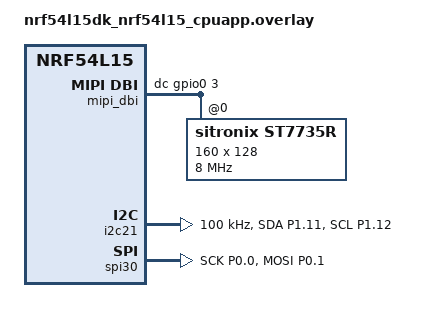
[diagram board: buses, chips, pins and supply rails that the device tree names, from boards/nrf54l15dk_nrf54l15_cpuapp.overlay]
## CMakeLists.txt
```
cmake_minimum_required(VERSION 3.20.0)
find_package(Zephyr REQUIRED HINTS $ENV{ZEPHYR_BASE})

project(camera-show-screen)

target_sources(app PRIVATE
    src/main.c
    ../lib/c/ov7670.c
    ../lib/c/fifo.c
    ../lib/c/tft_display.c
)
```

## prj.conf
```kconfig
# OV7670 FIFO Camera + TFT Display
CONFIG_GPIO=y
CONFIG_I2C=y
CONFIG_SPI=y

# Serial console (required for any UART output on nRF54L15)
CONFIG_SERIAL=y
CONFIG_CONSOLE=y
CONFIG_UART_CONSOLE=y
CONFIG_PRINTK=y

# Logging
CONFIG_LOG=y
CONFIG_LOG_MODE_IMMEDIATE=y
CONFIG_LOG_BACKEND_UART=y

CONFIG_MAIN_STACK_SIZE=4096

# Display
CONFIG_DISPLAY=y
CONFIG_ST7735R=y
CONFIG_MIPI_DBI=y
```

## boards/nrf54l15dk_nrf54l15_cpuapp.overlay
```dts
/*
 * Device tree overlay for OV7670 + FIFO camera on nRF54L15 DK
 *
 * I2C (SCCB): SIOD = P1.11, SIOC = P1.12  (i2c21 / TWIM21 — Arduino I2C header)
 * Data bus D0-D7 = P2.00-P2.07  (read as low byte of port 2)
 * VSYNC = P2.08,  WRST = P2.10,  RCK = P2.09
 * XCLK: provided by 12 MHz oscillator on the camera PCB
 *
 * P1.04-P1.07 — UART20 console          DO NOT USE
 * P2.07 — LED2 (D7: FIFO drives OK, LED flickers with data)
 * P2.09 — LED0 (RCK: LED blinks during frame readout — capture indicator)
 *
 * NOTE: P1.11 and P1.12 are the Arduino-compatible I2C header pins on PCA10156.
 * P1.00/P1.01 are NOT wired to any header on this board.
 */
&pinctrl {
	i2c21_default: i2c21_default {
		group1 {
			psels = <NRF_PSEL(TWIM_SDA, 1, 11)>,
				<NRF_PSEL(TWIM_SCL, 1, 12)>;
			/* External 4.7 kΩ pull-ups present — no internal bias needed */
		};
	};

	i2c21_sleep: i2c21_sleep {
		group1 {
			psels = <NRF_PSEL(TWIM_SDA, 1, 11)>,
				<NRF_PSEL(TWIM_SCL, 1, 12)>;
			low-power-enable;
		};
	};
	
	spi30_default: spi30_default {
		group1 {
			psels = <NRF_PSEL(SPIM_SCK, 0, 0)>,   /* P0.00 */
				<NRF_PSEL(SPIM_MOSI, 0, 1)>;   /* P0.01 */
		};
	};

	spi30_sleep: spi30_sleep {
		group1 {
			psels = <NRF_PSEL(SPIM_SCK, 0, 0)>,
				<NRF_PSEL(SPIM_MOSI, 0, 1)>;
			low-power-enable;
		};
	};
};

&i2c21 {
	compatible = "nordic,nrf-twim";
	status = "okay";
	pinctrl-0 = <&i2c21_default>;
	pinctrl-1 = <&i2c21_sleep>;
	pinctrl-names = "default", "sleep";
	clock-frequency = <100000>;
};

&spi30 {
	compatible = "nordic,nrf-spim";
	status = "okay";
	pinctrl-0 = <&spi30_default>;
	pinctrl-1 = <&spi30_sleep>;
	pinctrl-names = "default", "sleep";
	cs-gpios = <&gpio0 2 GPIO_ACTIVE_LOW>;  /* P0.02 */
};

/ {
	mipi_dbi {
		compatible = "zephyr,mipi-dbi-spi";
		spi-dev = <&spi30>;
		dc-gpios = <&gpio0 3 GPIO_ACTIVE_HIGH>;   /* P0.03 */
		/* RESET tied to 3.3V via 10 kΩ — no MCU pin needed */
		write-only;
		#address-cells = <1>;
		#size-cells = <0>;

		st7735r: st7735r@0 {
			compatible = "sitronix,st7735r";
			reg = <0>;
			mipi-max-frequency = <8000000>;
			mipi-mode = "MIPI_DBI_MODE_SPI_4WIRE";
			width = <160>;
			height = <128>;
			x-offset = <0>;
			y-offset = <0>;
			madctl = <0x60>; /* MV+MX: 90° CW landscape */
			colmod = <0x05>;
			vmctr1 = <0x0e>;
			pwctr1 = [A2 02 84];
			pwctr2 = [C5];
			pwctr3 = [0A 00];
			pwctr4 = [8A 2A];
			pwctr5 = [8A EE];
			frmctr1 = [01 2C 2D];
			frmctr2 = [01 2C 2D];
			frmctr3 = [01 2C 2D 01 2C 2D];
			gamctrp1 = [02 1C 07 12 37 32 29 2D 29 25 2B 39 00 01 03 10];
			gamctrn1 = [03 1D 07 06 2E 2C 29 2D 2E 2E 37 3F 00 00 02 10];
		};
	};
};

/*
 * Disable the on-board SPI flash (MX25R64) and SPI00 peripheral.
 * They claim P2.00 (reset), P2.01 (SCK), P2.02 (MOSI), P2.04 (MISO),
 * P2.05 (CS) — which collide with our FIFO data bus D0-D7 on P2.00-P2.07.
 *
 * NOTE: Even with SPI00 disabled, the flash chip is physically soldered
 * to these traces. If bus contention causes problems, the data bus
 * may need to be moved to different pins.
 */
&spi00 {
	status = "disabled";
};

/* uart30 and spi30 share the same address block (0x104000).
 * Disable uart30 so spi30 (domain-30, gpiote30) can use P0.00–P0.03. */
&uart30 {
	status = "disabled";
};

/* spi22 is unused — free its pins for the camera project */
&spi22 {
	status = "disabled";
};
```

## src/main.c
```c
/*
 * OV7670 + FIFO Camera Demo — nRF54L15 DK (Zephyr)
 *
 * Captures QQVGA (160×120) RGB565 frames once per second.
 * Set DUMP_FRAME_UART to 1 to hex-dump each frame over UART.
 * See README.md for hardware wiring and Board Configurator requirements.
 * See src/fifo.c for the full pin mapping.
 */

#include <zephyr/kernel.h>
#include <zephyr/logging/log.h>

#include "../../lib/c/ov7670.h"
#include "../../lib/c/fifo.h"
#include "../../lib/c/tft_display.h"

#define FRAME_RATE 5
#define FRAME_INTERVAL_MS (1000 / FRAME_RATE)

LOG_MODULE_REGISTER(app, LOG_LEVEL_INF);

static uint8_t frame_buf[IMG_SIZE] __aligned(4);

int main(void)
{
	LOG_INF("\n*** Camera capture and show on screen ***\n");

	const struct device *display = TFT_DEVICE();

	if (tft_init(display) != 0) {
		LOG_ERR("Display not ready\n");
		return -1;
	}

	if (ov7670_init() != 0) {
		LOG_ERR("Camera init failed\n");
		return -EIO;
	}

	if (fifo_init() != 0) {
		LOG_ERR("FIFO init failed\n");
		return -EIO;
	}

	k_msleep(300);   /* auto-exposure settle */
	
	tft_fill_screen(display, TFT_COLOR_BLACK);

	uint64_t time = k_uptime_get();
	uint64_t previous = time;
	while (1) {
		LOG_INF("Time spent: %llu ms", time - previous);

		fifo_capture(frame_buf, IMG_SIZE, LINE_STRIDE);
		
		tft_draw_image(display, 0, 0, 160, 120, frame_buf);
		
		// tft_draw_bounding_box(display, 0, 0, 160, 120, "Test");
		previous = time;
		time = k_uptime_get();
	}

	return 0;
}
```

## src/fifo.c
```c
/*
 * AL422B FIFO interface driver.
 *
 * Pin mapping (nRF54L15 DK — P2.00–P2.05 freed via Nordic Board Configurator,
 * spi00 disabled in boards/nrf54l15dk_nrf54l15_cpuapp.overlay):
 *
 *   D0–D7   P2.00–P2.07  (8-bit data bus, read as: gpio2 & 0xFF)
 *   WEN     P0.04        /WE  active-low  (shared with Button3 — OK for demo)
 *   RRST    P1.14        active-low read-pointer reset  (shared with LED3)
 *   VSYNC   P2.08        frame sync input from OV7670
 *   RCK     P2.09        read clock output  (also LED0 — blinks during readout)
 *   WRST    P2.10        /WRST active-low write-pointer reset
 *
 * Fixed (no MCU pin):
 *   XCLK  → 12 MHz oscillator on camera PCB
 *   OE    → GND   (FIFO outputs always enabled)
 *   RST   → 3.3 V via 10 kΩ
 *   PWDN  → GND
 *
 * SCCB (not handled here):
 *   SIOD  → P1.11  (managed by i2c21 / Arduino I2C SDA header)
 *   SIOC  → P1.12  (managed by i2c21 / Arduino I2C SCL header)
 *   Note: keep SIOD/SIOC wires short — long or chained wires add capacitance
 *         that corrupts SCCB writes and produces stuck/tinted images.
 */

#include "fifo.h"

#include <zephyr/device.h>
#include <zephyr/devicetree.h>
#include <zephyr/drivers/gpio.h>
#include <zephyr/kernel.h>
#include <zephyr/logging/log.h>
#include <zephyr/sys/util.h>

LOG_MODULE_REGISTER(fifo, LOG_LEVEL_INF);

/* ---- GPIO port handles --------------------------------------------------- */

static const struct device *const gpio0 = DEVICE_DT_GET(DT_NODELABEL(gpio0));
static const struct device *const gpio1 = DEVICE_DT_GET(DT_NODELABEL(gpio1));
static const struct device *const gpio2 = DEVICE_DT_GET(DT_NODELABEL(gpio2));

/* ---- Pin assignments ----------------------------------------------------- */

#define PIN_WEN    4   /* P0.04 — /WE  active-low */
#define PIN_RRST  14   /* P1.14 — RRST active-low */
#define PIN_VSYNC  8   /* P2.08 — frame sync input */
#define PIN_RCK    9   /* P2.09 — read clock (also LED0) */
#define PIN_WRST  10   /* P2.10 — /WRST active-low */

/* ---- Low-level helpers --------------------------------------------------- */

/* Read the 8-bit data bus: D0–D7 all on P2.00–P2.07. */
static inline uint8_t read_byte(void)
{
	gpio_port_value_t v;

	gpio_port_get_raw(gpio2, &v);
	return (uint8_t)(v & 0xFF);
}

static void write_reset(void)
{
	gpio_pin_set_raw(gpio2, PIN_WRST, 0);
	k_busy_wait(1);
	gpio_pin_set_raw(gpio2, PIN_WRST, 1);
	k_busy_wait(1);
}

static void read_reset(void)
{
	/* Sequence from bitluni reference: assert RRST, clock one rising RCK
	 * edge so the AL422B latches the reset, then deassert RRST.  Leave
	 * RCK high so the first read_byte() sees valid data at address 0. */
	gpio_pin_set_raw(gpio1, PIN_RRST, 0);
	k_busy_wait(1);
	gpio_pin_set_raw(gpio2, PIN_RCK, 0);
	k_busy_wait(1);
	gpio_pin_set_raw(gpio2, PIN_RCK, 1);
	k_busy_wait(1);
	gpio_pin_set_raw(gpio1, PIN_RRST, 1);
}

/* ---- Public API ---------------------------------------------------------- */

int fifo_init(void)
{
	int ret;

	if (!device_is_ready(gpio0) ||
	    !device_is_ready(gpio1) ||
	    !device_is_ready(gpio2)) {
		LOG_ERR("GPIO port(s) not ready");
		return -ENODEV;
	}

	/* Data bus D0–D7: P2.00–P2.07 as inputs */
	for (int i = 0; i < 8; i++) {
		ret = gpio_pin_configure(gpio2, i, GPIO_INPUT);
		if (ret) {
			LOG_ERR("data pin P2.%02d cfg failed: %d", i, ret);
			return ret;
		}
	}

	/* WEN (P0.04): output, start high (write disabled) */
	ret = gpio_pin_configure(gpio0, PIN_WEN, GPIO_OUTPUT);
	if (ret) {
		LOG_ERR("P0.%02d (WEN) cfg failed: %d", PIN_WEN, ret);
		return ret;
	}
	gpio_pin_set_raw(gpio0, PIN_WEN, 1);

	/* RRST (P1.14): output, start high (deasserted) */
	ret = gpio_pin_configure(gpio1, PIN_RRST, GPIO_OUTPUT);
	if (ret) {
		LOG_ERR("P1.%02d (RRST) cfg failed: %d", PIN_RRST, ret);
		return ret;
	}
	gpio_pin_set_raw(gpio1, PIN_RRST, 1);

	/* Port 2 control pins */
	static const struct { uint8_t pin; int dir; uint8_t init; } p2ctrl[] = {
		{PIN_VSYNC, GPIO_INPUT,  0},
		{PIN_WRST,  GPIO_OUTPUT, 1},
		{PIN_RCK,   GPIO_OUTPUT, 1},
	};
	for (int i = 0; i < ARRAY_SIZE(p2ctrl); i++) {
		ret = gpio_pin_configure(gpio2, p2ctrl[i].pin, p2ctrl[i].dir);
		if (ret) {
			LOG_ERR("P2.%02d cfg failed: %d", p2ctrl[i].pin, ret);
			return ret;
		}
		if (p2ctrl[i].dir == GPIO_OUTPUT) {
			gpio_pin_set_raw(gpio2, p2ctrl[i].pin, p2ctrl[i].init);
		}
	}

	return 0;
}

int fifo_capture(uint8_t *buf, size_t size, size_t line_stride)
{
	/* 1.  Wait for VSYNC = 1  (vertical blanking / end of old frame) */
	while (gpio_pin_get_raw(gpio2, PIN_VSYNC) == 0) {
	}
	/* 2.  Wait for VSYNC = 0  (start of new frame) */
	while (gpio_pin_get_raw(gpio2, PIN_VSYNC) != 0) {
	}

	/* 3.  Reset write pointer and enable writing (AL422B /WE active-low) */
	write_reset();
	gpio_pin_set_raw(gpio0, PIN_WEN, 0);

	/* 4.  Wait for the full frame to be written (VSYNC = 1 again) */
	while (gpio_pin_get_raw(gpio2, PIN_VSYNC) == 0) {
	}

	/* 5.  Stop writing */
	gpio_pin_set_raw(gpio0, PIN_WEN, 1);

	/* 6.  Reset read pointer */
	read_reset();

	/* 6b. It seems that the first byte will be corrupted unless we set RCK low */
	gpio_pin_set_raw(gpio2, PIN_RCK, 0);

	/* 7.  Clock out every byte.
	 *     AL422B: data valid while RCK is HIGH; pointer advances on
	 *     falling edge.  RCK is also LED0 — it blinks during readout. */
	const int trouble_byte = line_stride - 2;
	for (size_t i = 0; i < size; i++) {
		gpio_pin_set_raw(gpio2, PIN_RCK, 1);
		buf[i] = read_byte();
		if (buf[i] != 0 && (i % line_stride) == trouble_byte) {
			//The second last byte in each LINE_STRIDE should always be 0x00.
			//Inserting zero as the second last byte, and inserting the read byte at the end:
			//Do not need to check for array bounds - we are at the second to last byte in a line.
			buf[i + 1] = buf[i];
			buf[i] = 0;
			++i;
		}
		gpio_pin_set_raw(gpio2, PIN_RCK, 0);
	}

	return 0;
}
```

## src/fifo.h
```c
#ifndef FIFO_H_
#define FIFO_H_

#include <stddef.h>
#include <stdint.h>

/* Image dimensions — QQVGA RGB565 */
#define IMG_W    160
#define IMG_H    120
#define IMG_BPP  2
#define IMG_SIZE (IMG_W * IMG_H * IMG_BPP)  /* 38 400 bytes */
#define LINE_STRIDE (IMG_W * IMG_BPP)

/**
 * @brief Configure GPIO pins for the AL422B FIFO interface.
 *
 * Sets up D0–D7 (P2.00–P2.07 as inputs), WEN (P0.04), RRST (P1.14),
 * VSYNC (P2.08), RCK (P2.09), and WRST (P2.10).  Call once at startup
 * before fifo_capture().
 *
 * @return 0 on success, negative errno on failure.
 */
int fifo_init(void);

/**
 * @brief Capture one full frame from the AL422B FIFO into @p buf.
 *
 * Waits for VSYNC frame boundaries, arms the write cycle, then clocks
 * out @p size bytes.
 *
 * @param buf   Destination buffer.  Must be at least @p size bytes.
 * @param size  Bytes to read — normally IMG_SIZE.
 * @return 0 on success.
 */
int fifo_capture(uint8_t *buf, size_t size, size_t line_stride);

#endif /* FIFO_H_ */
```

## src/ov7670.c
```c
/*
 * OV7670 CMOS image sensor driver (SCCB / I2C).
 *
 * Configures the sensor for QQVGA (160×120) RGB565 output.
 *
 * SCCB is I2C-compatible but requires a STOP condition between the
 * register-address write and the data read — i2c_write_read() must NOT
 * be used; two separate transactions are used instead.
 */

#include "ov7670.h"

#include <zephyr/device.h>
#include <zephyr/devicetree.h>
#include <zephyr/drivers/i2c.h>
#include <zephyr/kernel.h>
#include <zephyr/logging/log.h>
#include <zephyr/sys/util.h>

LOG_MODULE_REGISTER(ov7670, LOG_LEVEL_INF);

/* ---- SCCB address (7-bit) ----------------------------------------------- */

#define OV7670_ADDR  0x21

/* ---- Register map -------------------------------------------------------- */

#define REG_PID               0x0A
#define REG_VER               0x0B
#define REG_COM1              0x04
#define REG_COM3              0x0C
#define REG_COM7              0x12
#define REG_COM9              0x14
#define REG_COM13             0x3D
#define REG_COM14             0x3E
#define REG_COM15             0x40
#define REG_CLKRC             0x11
#define REG_TSLB              0x3A
#define REG_HSTART            0x17
#define REG_HSTOP             0x18
#define REG_HREF              0x32
#define REG_VSTART            0x19
#define REG_VSTOP             0x1A
#define REG_VREF              0x03
#define REG_RGB444            0x8C
#define REG_SCALING_XSC       0x70
#define REG_SCALING_YSC       0x71
#define REG_SCALING_DCWCTR    0x72
#define REG_SCALING_PCLK_DIV  0x73
#define REG_SCALING_PCLK_DLY  0xA2
#define REG_MTX1              0x4F
#define REG_MTX2              0x50
#define REG_MTX3              0x51
#define REG_MTX4              0x52
#define REG_MTX5              0x53
#define REG_MTX6              0x54
#define REG_MTXS              0x58

/* ---- QQVGA RGB565 initialisation table ----------------------------------- */

static const struct { uint8_t reg; uint8_t val; } init_tbl[] = {
	/* software reset — 100 ms pause inserted by the write loop */
	{REG_COM7,             0x80},
	/* RGB output mode */
	{REG_COM7,             0x04},
	/* use external 12 MHz clock directly, no prescaler */
	{REG_CLKRC,            0x80},
	/* enable downsampling / scaling */
	{REG_COM3,             0x04},
	/* manual scaling + PCLK divider ÷4 */
	{REG_COM14,            0x1A},
	/* downsample by 4 (H and V) */
	{REG_SCALING_DCWCTR,   0x22},
	/* DSP clock divider ÷4 */
	{REG_SCALING_PCLK_DIV, 0xF2},
	{REG_SCALING_XSC,      0x3A},
	{REG_SCALING_YSC,      0x35},
	{REG_SCALING_PCLK_DLY, 0x02},
	/* RGB565, full output range */
	{REG_COM15,            0xD0},
	/* disable RGB444 */
	{REG_RGB444,           0x00},
	{REG_COM1,             0x00},
	{REG_TSLB,             0x04},
	/* QQVGA window */
	{REG_HSTART,           0x16},
	{REG_HSTOP,            0x04},
	{REG_HREF,             0x24},
	{REG_VSTART,           0x02},
	{REG_VSTOP,            0x7A},
	{REG_VREF,             0x0A},
	/* AGC gain ceiling */
	{REG_COM9,             0x48},
	/* colour matrix */
	{REG_MTX1,             0x80},
	{REG_MTX2,             0x80},
	{REG_MTX3,             0x00},
	{REG_MTX4,             0x22},
	{REG_MTX5,             0x5E},
	{REG_MTX6,             0x80},
	{REG_MTXS,             0x9E},
	/* gamma + UV auto adjust */
	{REG_COM13,            0xC0},
	/* registers from bitluni reference — critical for correct colours */
	{0xB0,                 0x84},  /* undocumented */
	{0x13,                 0xE7},  /* COM8: AGC + AWB + AEC */
	{0x6F,                 0x9F},  /* simple AWB */
};

/* ---- Critical registers verified after table write ----------------------- */

static const struct {
	uint8_t reg; uint8_t expect; const char *name;
} verify_tbl[] = {
	{REG_COM7,             0x04, "COM7  (RGB mode)"},
	{REG_COM15,            0xD0, "COM15 (RGB565)"},
	{REG_CLKRC,            0x80, "CLKRC (ext clk)"},
	{REG_COM14,            0x1A, "COM14 (scale ÷4)"},
	{REG_SCALING_DCWCTR,   0x22, "DCWCTR (ds ÷4)"},
	{REG_SCALING_PCLK_DIV, 0xF2, "PCLK_DIV (÷4)"},
};

/* ---- Device handle ------------------------------------------------------- */

static const struct device *const i2c_dev = DEVICE_DT_GET(DT_NODELABEL(i2c21));

/* ---- Low-level SCCB helpers ---------------------------------------------- */

static int write_reg(uint8_t reg, uint8_t val)
{
	uint8_t buf[2] = {reg, val};

	return i2c_write(i2c_dev, buf, 2, OV7670_ADDR);
}

static int read_reg(uint8_t reg, uint8_t *val)
{
	/*
	 * OV7670 SCCB requires a STOP between the address phase and the data
	 * read — use two separate transactions, not i2c_write_read().
	 */
	int ret = i2c_write(i2c_dev, &reg, 1, OV7670_ADDR);

	if (ret) {
		return ret;
	}
	return i2c_read(i2c_dev, val, 1, OV7670_ADDR);
}

/* ---- Public API ---------------------------------------------------------- */

int ov7670_init(void)
{
	uint8_t pid, ver;
	int ret;

	if (!device_is_ready(i2c_dev)) {
		LOG_ERR("I2C device (i2c21) not ready");
		return -ENODEV;
	}

	/* I2C bus scan — helps diagnose address / wiring issues */
	printk("I2C scan on i2c21 (P1.11=SDA, P1.12=SCL):\n");
	bool found = false;
	uint8_t dummy;

	for (uint8_t addr = 0x08; addr < 0x78; addr++) {
		if (i2c_write(i2c_dev, &dummy, 0, addr) == 0) {
			printk("  found device at 0x%02X\n", addr);
			found = true;
		}
	}
	if (!found) {
		printk("  no devices found — check wiring and pull-ups on P1.11/P1.12!\n");
	}

	ret = read_reg(REG_PID, &pid);
	if (ret) {
		LOG_ERR("Cannot read OV7670 PID (I2C error %d) — check SIOD/SIOC wiring", ret);
		return ret;
	}
	read_reg(REG_VER, &ver);
	LOG_INF("OV7670 found — PID 0x%02X  VER 0x%02X", pid, ver);

	if (pid != 0x76 || ver != 0x73) {
		LOG_WRN("Unexpected chip ID (expected PID=0x76, VER=0x73)");
	}

	/* Write register table */
	for (size_t i = 0; i < ARRAY_SIZE(init_tbl); i++) {
		ret = write_reg(init_tbl[i].reg, init_tbl[i].val);
		if (ret) {
			LOG_ERR("Reg 0x%02X write failed: %d", init_tbl[i].reg, ret);
			return ret;
		}
		/* extra pause after software reset */
		if (init_tbl[i].reg == REG_COM7 && init_tbl[i].val == 0x80) {
			k_msleep(100);
		} else {
			k_usleep(300);
		}
	}
	LOG_INF("OV7670 configured — QQVGA 160x120 RGB565");

	/* Readback verification */
	for (size_t i = 0; i < ARRAY_SIZE(verify_tbl); i++) {
		uint8_t rd = 0xFF;
		int rc = read_reg(verify_tbl[i].reg, &rd);

		if (rc) {
			LOG_ERR("Readback 0x%02X (%s) I2C err %d",
				verify_tbl[i].reg, verify_tbl[i].name, rc);
		} else if (rd != verify_tbl[i].expect) {
			LOG_WRN("Readback 0x%02X (%s): got 0x%02X, expected 0x%02X",
				verify_tbl[i].reg, verify_tbl[i].name, rd, verify_tbl[i].expect);
		} else {
			LOG_INF("Readback 0x%02X (%s): OK (0x%02X)",
				verify_tbl[i].reg, verify_tbl[i].name, rd);
		}
	}

	return 0;
}
```

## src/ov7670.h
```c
#ifndef OV7670_H_
#define OV7670_H_

/**
 * @brief Initialise the OV7670 image sensor over SCCB (I2C).
 *
 * Performs an I2C bus scan, verifies the OV7670 chip ID, writes the QQVGA
 * RGB565 register table, and reads back six critical registers to confirm
 * the configuration was accepted.
 *
 * Requires i2c21 to be ready before calling.
 *
 * @return 0 on success, negative errno on failure.
 */
int ov7670_init(void);

#endif /* OV7670_H_ */
```

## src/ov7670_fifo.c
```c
/*
 * OV7670 + AL422B FIFO camera driver — nRF54L15 DK (Zephyr)
 *
 * Configures the OV7670 for QQVGA (160×120) RGB565 over SCCB (I2C),
 * then reads frames from the companion AL422B FIFO using bit-banged GPIO.
 *
 * Pin mapping:
 *   SCCB (i2c21): SIOD = P1.11 (SDA), SIOC = P1.12 (SCL)
 *   D0-D7  — P2.00-P2.07  (data bus, read as low byte of port 2)
 *   WEN    — P0.04  /WE  active-low  (shared with Button3)
 *   RRST   — P1.14  active-low read-pointer reset  (shared with LED3)
 *   VSYNC  — P2.08  frame-sync input from OV7670
 *   RCK    — P2.09  read clock output  (also LED0 — blinks during readout)
 *   WRST   — P2.10  /WRST active-low write-pointer reset
 */

#include "ov7670_fifo.h"
#include "ov7670_regs.h"

#include <zephyr/device.h>
#include <zephyr/devicetree.h>
#include <zephyr/drivers/gpio.h>
#include <zephyr/drivers/i2c.h>
#include <zephyr/kernel.h>
#include <zephyr/logging/log.h>
#include <zephyr/sys/util.h>

LOG_MODULE_REGISTER(ov7670_fifo, LOG_LEVEL_INF);

/* ── Device handles ─────────────────────────────────────────────────────── */

static const struct device *const gpio0   = DEVICE_DT_GET(DT_NODELABEL(gpio0));
static const struct device *const gpio1   = DEVICE_DT_GET(DT_NODELABEL(gpio1));
static const struct device *const gpio2   = DEVICE_DT_GET(DT_NODELABEL(gpio2));
static const struct device *const i2c_dev = DEVICE_DT_GET(DT_NODELABEL(i2c21));

/* ── FIFO pin assignments ───────────────────────────────────────────────── */

#define PIN_WEN    4   /* P0.04 — /WE  active-low */
#define PIN_RRST  14   /* P1.14 — RRST active-low */
#define PIN_VSYNC  8   /* P2.08 — frame sync input */
#define PIN_RCK    9   /* P2.09 — read clock (also LED0) */
#define PIN_WRST  10   /* P2.10 — /WRST active-low */

/* ── OV7670 QQVGA RGB565 register init table ────────────────────────────── */

static const struct { uint8_t reg; uint8_t val; } init_tbl[] = {
	/* Software reset — 100 ms delay inserted by the write loop */
	{OV7670_REG_COM7,               0x80},
	/* RGB output mode */
	{OV7670_REG_COM7,               0x04},
	/* Use external 12 MHz clock directly, no prescaler */
	{OV7670_REG_CLKRC,              0x80},
	/* Enable downsampling / scaling */
	{OV7670_REG_COM3,               0x04},
	/* Manual scaling + PCLK divider ÷4 */
	{OV7670_REG_COM14,              0x1A},
	/* Downsample by 4 (H and V) */
	{OV7670_REG_SCALING_DCWCTR,     0x22},
	/* DSP clock divider ÷4 */
	{OV7670_REG_SCALING_PCLK_DIV,   0xF2},
	{OV7670_REG_SCALING_XSC,        0x3A},
	{OV7670_REG_SCALING_YSC,        0x35},
	{OV7670_REG_SCALING_PCLK_DELAY, 0x02},
	/* RGB565, full output range [00..FF] */
	{OV7670_REG_COM15,              0xD0},
	/* Disable RGB444 */
	{OV7670_REG_RGB444,             0x00},
	{OV7670_REG_COM1,               0x00},
	{OV7670_REG_TSLB,               0x04},
	/* QQVGA window */
	{OV7670_REG_HSTART,             0x16},
	{OV7670_REG_HSTOP,              0x04},
	{OV7670_REG_HREF,               0x24},
	{OV7670_REG_VSTRT,              0x02},
	{OV7670_REG_VSTOP,              0x7A},
	{OV7670_REG_VREF,               0x0A},
	/* AGC gain ceiling ×8 */
	{OV7670_REG_COM9,               0x48},
	/* Colour matrix */
	{OV7670_REG_MTX1,               0x80},
	{OV7670_REG_MTX2,               0x80},
	{OV7670_REG_MTX3,               0x00},
	{OV7670_REG_MTX4,               0x22},
	{OV7670_REG_MTX5,               0x5E},
	{OV7670_REG_MTX6,               0x80},
	{OV7670_REG_MTXS,               0x9E},
	/* Gamma + UV auto adjust */
	{OV7670_REG_COM13,              0xC0},
	/* Undocumented — required for correct colours on FIFO modules */
	{0xB0,                          0x84},
	/* COM8: AGC + AWB + AEC all on */
	{OV7670_REG_COM8,               0xE7},
	/* Simple AWB */
	{OV7670_REG_AWBCTR0,            0x9F},
};

/* ── Critical registers verified after table write ──────────────────────── */

static const struct {
	uint8_t reg; uint8_t expect; const char *name;
} verify_tbl[] = {
	{OV7670_REG_COM7,             0x04, "COM7  (RGB mode)"},
	{OV7670_REG_COM15,            0xD0, "COM15 (RGB565)"},
	{OV7670_REG_CLKRC,            0x80, "CLKRC (ext clk)"},
	{OV7670_REG_COM14,            0x1A, "COM14 (scale ÷4)"},
	{OV7670_REG_SCALING_DCWCTR,   0x22, "DCWCTR (ds ÷4)"},
	{OV7670_REG_SCALING_PCLK_DIV, 0xF2, "PCLK_DIV (÷4)"},
};

/* ── SCCB (I2C) helpers ─────────────────────────────────────────────────── */

static int write_reg(uint8_t reg, uint8_t val)
{
	uint8_t buf[2] = {reg, val};

	return i2c_write(i2c_dev, buf, 2, OV7670_I2C_ADDR);
}

static int read_reg(uint8_t reg, uint8_t *val)
{
	/*
	 * OV7670 SCCB requires a STOP between the address phase and the data
	 * read — use two separate transactions, not i2c_write_read().
	 */
	int ret = i2c_write(i2c_dev, &reg, 1, OV7670_I2C_ADDR);

	if (ret) {
		return ret;
	}
	return i2c_read(i2c_dev, val, 1, OV7670_I2C_ADDR);
}

/* ── FIFO helpers ───────────────────────────────────────────────────────── */

/* Read the 8-bit data bus: D0-D7 all on P2.00-P2.07. */
static inline uint8_t read_data_bus(void)
{
	gpio_port_value_t v;

	gpio_port_get_raw(gpio2, &v);
	return (uint8_t)(v & 0xFF);
}

static void write_reset(void)
{
	gpio_pin_set_raw(gpio2, PIN_WRST, 0);
	k_busy_wait(1);
	gpio_pin_set_raw(gpio2, PIN_WRST, 1);
	k_busy_wait(1);
}

static void read_reset(void)
{
	/* Assert RRST, clock one rising RCK edge so the AL422B latches the
	 * reset, then deassert. Leave RCK high so the first sample sees
	 * valid data at address 0. */
	gpio_pin_set_raw(gpio1, PIN_RRST, 0);
	k_busy_wait(1);
	gpio_pin_set_raw(gpio2, PIN_RCK, 0);
	k_busy_wait(1);
	gpio_pin_set_raw(gpio2, PIN_RCK, 1);
	k_busy_wait(1);
	gpio_pin_set_raw(gpio1, PIN_RRST, 1);
}

/* ── Public API ─────────────────────────────────────────────────────────── */

int ov7670_init(void)
{
	uint8_t pid, ver;
	int ret;

	if (!device_is_ready(i2c_dev)) {
		LOG_ERR("I2C device (i2c21) not ready");
		return -ENODEV;
	}

	/* I2C bus scan — helps diagnose address / wiring issues */
	LOG_INF("I2C scan on i2c21 (P1.11=SDA, P1.12=SCL):");
	bool found = false;
	uint8_t dummy;

	for (uint8_t addr = 0x08; addr < 0x78; addr++) {
		if (i2c_write(i2c_dev, &dummy, 0, addr) == 0) {
			LOG_INF("  found device at 0x%02X", addr);
			found = true;
		}
	}
	if (!found) {
		LOG_WRN("  no devices — check wiring and pull-ups on P1.11/P1.12");
	}

	ret = read_reg(OV7670_REG_PID, &pid);
	if (ret) {
		LOG_ERR("Cannot read PID (I2C error %d) — check SIOD/SIOC wiring", ret);
		return ret;
	}
	read_reg(OV7670_REG_VER, &ver);
	LOG_INF("OV7670 PID=0x%02X VER=0x%02X", pid, ver);

	if (pid != OV7670_PID_MAGIC || ver != OV7670_VER_MAGIC) {
		LOG_WRN("Unexpected chip ID (expected PID=0x76, VER=0x73)");
	}

	for (size_t i = 0; i < ARRAY_SIZE(init_tbl); i++) {
		ret = write_reg(init_tbl[i].reg, init_tbl[i].val);
		if (ret) {
			LOG_ERR("Reg 0x%02X write failed: %d", init_tbl[i].reg, ret);
			return ret;
		}
		/* Extra pause after software reset */
		if (init_tbl[i].reg == OV7670_REG_COM7 && init_tbl[i].val == 0x80) {
			k_msleep(100);
		} else {
			k_usleep(300);
		}
	}
	LOG_INF("OV7670 configured — QQVGA %dx%d RGB565", IMG_W, IMG_H);

	for (size_t i = 0; i < ARRAY_SIZE(verify_tbl); i++) {
		uint8_t rd = 0xFF;
		int rc = read_reg(verify_tbl[i].reg, &rd);

		if (rc) {
			LOG_ERR("Readback 0x%02X (%s) I2C err %d",
				verify_tbl[i].reg, verify_tbl[i].name, rc);
		} else if (rd != verify_tbl[i].expect) {
			LOG_WRN("Readback 0x%02X (%s): got 0x%02X, want 0x%02X",
				verify_tbl[i].reg, verify_tbl[i].name,
				rd, verify_tbl[i].expect);
		} else {
			LOG_INF("Readback 0x%02X (%s): OK", verify_tbl[i].reg,
				verify_tbl[i].name);
		}
	}

	return 0;
}

int fifo_init(void)
{
	int ret;

	if (!device_is_ready(gpio0) ||
	    !device_is_ready(gpio1) ||
	    !device_is_ready(gpio2)) {
		LOG_ERR("GPIO port(s) not ready");
		return -ENODEV;
	}

	/* Data bus D0-D7: P2.00-P2.07 as inputs */
	for (int i = 0; i < 8; i++) {
		ret = gpio_pin_configure(gpio2, i, GPIO_INPUT);
		if (ret) {
			LOG_ERR("data pin P2.%02d cfg failed: %d", i, ret);
			return ret;
		}
	}

	/* WEN (P0.04): output, start high (write disabled) */
	ret = gpio_pin_configure(gpio0, PIN_WEN, GPIO_OUTPUT);
	if (ret) {
		LOG_ERR("P0.%02d (WEN) cfg failed: %d", PIN_WEN, ret);
		return ret;
	}
	gpio_pin_set_raw(gpio0, PIN_WEN, 1);

	/* RRST (P1.14): output, start high (deasserted) */
	ret = gpio_pin_configure(gpio1, PIN_RRST, GPIO_OUTPUT);
	if (ret) {
		LOG_ERR("P1.%02d (RRST) cfg failed: %d", PIN_RRST, ret);
		return ret;
	}
	gpio_pin_set_raw(gpio1, PIN_RRST, 1);

	/* Port 2 control pins */
	static const struct { uint8_t pin; int dir; uint8_t init; } p2ctrl[] = {
		{PIN_VSYNC, GPIO_INPUT,  0},
		{PIN_WRST,  GPIO_OUTPUT, 1},
		{PIN_RCK,   GPIO_OUTPUT, 1},
	};
	for (int i = 0; i < ARRAY_SIZE(p2ctrl); i++) {
		ret = gpio_pin_configure(gpio2, p2ctrl[i].pin, p2ctrl[i].dir);
		if (ret) {
			LOG_ERR("P2.%02d cfg failed: %d", p2ctrl[i].pin, ret);
			return ret;
		}
		if (p2ctrl[i].dir == GPIO_OUTPUT) {
			gpio_pin_set_raw(gpio2, p2ctrl[i].pin, p2ctrl[i].init);
		}
	}

	return 0;
}

int fifo_capture(uint8_t *buf, size_t size)
{
	/* 1. Wait for VSYNC = 1 (vertical blanking / end of old frame) */
	while (gpio_pin_get_raw(gpio2, PIN_VSYNC) == 0) {
	}
	/* 2. Wait for VSYNC = 0 (start of new frame) */
	while (gpio_pin_get_raw(gpio2, PIN_VSYNC) != 0) {
	}

	/* 3. Reset write pointer and enable writing (AL422B /WE active-low) */
	write_reset();
	gpio_pin_set_raw(gpio0, PIN_WEN, 0);

	/* 4. Wait for the full frame to be written (VSYNC = 1 again) */
	while (gpio_pin_get_raw(gpio2, PIN_VSYNC) == 0) {
	}

	/* 5. Stop writing */
	gpio_pin_set_raw(gpio0, PIN_WEN, 1);

	/* 6. Reset read pointer */
	read_reset();

	/* 7. Clock out every byte.
	 *    AL422B: data valid while RCK is HIGH; pointer advances on falling
	 *    edge. RCK is also LED0 — it blinks during readout. */
	for (size_t i = 0; i < size; i++) {
		gpio_pin_set_raw(gpio2, PIN_RCK, 1);
		buf[i] = read_data_bus();
		gpio_pin_set_raw(gpio2, PIN_RCK, 0);
	}

	return 0;
}
```

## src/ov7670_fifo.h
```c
#ifndef OV7670_FIFO_H_
#define OV7670_FIFO_H_

#include <stddef.h>
#include <stdint.h>

/* QQVGA RGB565 frame geometry */
#define IMG_W    160
#define IMG_H    120
#define IMG_BPP  2
#define IMG_SIZE (IMG_W * IMG_H * IMG_BPP)  /* 38400 bytes */

/**
 * @brief Configure the OV7670 image sensor for QQVGA RGB565 output via SCCB.
 *
 * Scans the I2C bus, verifies the chip ID (PID=0x76, VER=0x73), writes the
 * QQVGA RGB565 register table, and reads back critical registers to confirm.
 *
 * @return 0 on success, negative errno on failure.
 */
int ov7670_init(void);

/**
 * @brief Configure GPIO pins for the AL422B FIFO interface.
 *
 * Sets up D0-D7 (P2.00-P2.07 as inputs), WEN (P0.04), RRST (P1.14),
 * VSYNC (P2.08), RCK (P2.09), and WRST (P2.10). Call once at startup.
 *
 * @return 0 on success, negative errno on failure.
 */
int fifo_init(void);

/**
 * @brief Capture one frame from the AL422B FIFO into @p buf.
 *
 * Waits for VSYNC frame boundaries, arms the write cycle, then clocks
 * out @p size bytes.
 *
 * @param buf   Destination buffer (must be at least @p size bytes).
 * @param size  Bytes to read — normally IMG_SIZE.
 * @return 0 on success.
 */
int fifo_capture(uint8_t *buf, size_t size);

#endif /* OV7670_FIFO_H_ */
```

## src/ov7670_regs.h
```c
#ifndef OV7670_REGS_H
#define OV7670_REGS_H

/* OV7670 SCCB (I2C-compatible) 7-bit address */
#define OV7670_I2C_ADDR         0x21

/* ─── Core control registers ─────────────────────────────── */
#define OV7670_REG_GAIN         0x00  /* AGC gain bits[7:0] */
#define OV7670_REG_BLUE         0x01  /* AWB blue channel gain */
#define OV7670_REG_RED          0x02  /* AWB red channel gain */
#define OV7670_REG_VREF         0x03  /* Vertical frame control */
#define OV7670_REG_COM1         0x04  /* Common control 1 */
#define OV7670_REG_BAVE         0x05  /* U/B average level */
#define OV7670_REG_GbAVE        0x06  /* Y/Gb average level */
#define OV7670_REG_AECHH        0x07  /* Exposure value [15:10] */
#define OV7670_REG_RAVE         0x08  /* V/R average level */
#define OV7670_REG_COM2         0x09  /* Common control 2 */
#define OV7670_REG_PID          0x0A  /* Product ID MSB (0x76) */
#define OV7670_REG_VER          0x0B  /* Product ID LSB (0x73) */
#define OV7670_REG_COM3         0x0C  /* Common control 3 */
#define OV7670_REG_COM4         0x0D  /* Common control 4 */
#define OV7670_REG_COM5         0x0E  /* Common control 5 */
#define OV7670_REG_COM6         0x0F  /* Common control 6 */
#define OV7670_REG_AECH         0x10  /* Exposure value [9:2] */
#define OV7670_REG_CLKRC        0x11  /* Clock rate control */
#define OV7670_REG_COM7         0x12  /* Common control 7 */
#define OV7670_REG_COM8         0x13  /* Common control 8 (AEC/AGC/AWB) */
#define OV7670_REG_COM9         0x14  /* Common control 9 (max gain) */
#define OV7670_REG_COM10        0x15  /* Common control 10 (PCLK/HREF/VSYNC polarity) */
#define OV7670_REG_HSTART       0x17  /* Horizontal frame start */
#define OV7670_REG_HSTOP        0x18  /* Horizontal frame stop */
#define OV7670_REG_VSTRT        0x19  /* Vertical frame start */
#define OV7670_REG_VSTOP        0x1A  /* Vertical frame stop */
#define OV7670_REG_PSHFT        0x1B  /* Pixel delay after HREF */
#define OV7670_REG_MIDH         0x1C  /* Manufacturer ID MSB (0x7F) */
#define OV7670_REG_MIDL         0x1D  /* Manufacturer ID LSB (0xA2) */
#define OV7670_REG_MVFP         0x1E  /* Mirror/flip */
#define OV7670_REG_LAEC         0x1F  /* Reserved */
#define OV7670_REG_ADCCTR0      0x20  /* ADC control */
#define OV7670_REG_ADCCTR1      0x21
#define OV7670_REG_ADCCTR2      0x22
#define OV7670_REG_ADCCTR3      0x23
#define OV7670_REG_AEW          0x24  /* AGC/AEC upper limit */
#define OV7670_REG_AEB          0x25  /* AGC/AEC lower limit */
#define OV7670_REG_VPT          0x26  /* AGC/AEC fast mode operating region */
#define OV7670_REG_BBIAS        0x27  /* B channel signal output bias */
#define OV7670_REG_GbBIAS       0x28  /* Gb channel signal output bias */
#define OV7670_REG_EXHCH        0x2A  /* Dummy pixel insert MSB */
#define OV7670_REG_EXHCL        0x2B  /* Dummy pixel insert LSB */
#define OV7670_REG_RBIAS        0x2C  /* R channel signal output bias */
#define OV7670_REG_ADVFL        0x2D  /* LSB of insert dummy lines in vertical direction */
#define OV7670_REG_ADVFH        0x2E  /* MSB of insert dummy lines */
#define OV7670_REG_YAVE         0x2F  /* Y/G channel average value */
#define OV7670_REG_HSYST        0x30  /* HSYNC rising edge delay */
#define OV7670_REG_HSYEN        0x31  /* HSYNC falling edge delay */
#define OV7670_REG_HREF         0x32  /* HREF control */
#define OV7670_REG_CHLF         0x33  /* Array current control */
#define OV7670_REG_ARBLM        0x34  /* Array reference control */
#define OV7670_REG_ADC          0x37  /* ADC control */
#define OV7670_REG_ACOM         0x38  /* ADC and analog common mode control */
#define OV7670_REG_OFON         0x39  /* ADC offset control */
#define OV7670_REG_TSLB         0x3A  /* Line buffer test option */
#define OV7670_REG_COM11        0x3B  /* Common control 11 */
#define OV7670_REG_COM12        0x3C  /* Common control 12 */
#define OV7670_REG_COM13        0x3D  /* Common control 13 (gamma/UV) */
#define OV7670_REG_COM14        0x3E  /* Common control 14 (DCW/PCLK scaling) */
#define OV7670_REG_EDGE         0x3F  /* Edge enhancement adjustment */
#define OV7670_REG_COM15        0x40  /* Common control 15 (output range/RGB565) */
#define OV7670_REG_COM16        0x41  /* Common control 16 (edge/denoise) */
#define OV7670_REG_COM17        0x42  /* Common control 17 (AEC window) */
#define OV7670_REG_AWBC1        0x43
#define OV7670_REG_AWBC2        0x44
#define OV7670_REG_AWBC3        0x45
#define OV7670_REG_AWBC4        0x46
#define OV7670_REG_AWBC5        0x47
#define OV7670_REG_AWBC6        0x48
#define OV7670_REG_REG4B        0x4B
#define OV7670_REG_DNSTH        0x4C  /* Denoise threshold */
#define OV7670_REG_MTX1         0x4F  /* Matrix coefficient 1 */
#define OV7670_REG_MTX2         0x50
#define OV7670_REG_MTX3         0x51
#define OV7670_REG_MTX4         0x52
#define OV7670_REG_MTX5         0x53
#define OV7670_REG_MTX6         0x54
#define OV7670_REG_BRIGHT       0x55  /* Brightness control */
#define OV7670_REG_CONTRAS      0x56  /* Contrast control */
#define OV7670_REG_CONTRAS_CTR  0x57  /* Contrast center */
#define OV7670_REG_MTXS         0x58  /* Matrix coefficient sign */
#define OV7670_REG_LCC1         0x62  /* Lens correction option 1 */
#define OV7670_REG_LCC2         0x63
#define OV7670_REG_LCC3         0x64
#define OV7670_REG_LCC4         0x65
#define OV7670_REG_LCC5         0x66
#define OV7670_REG_MANU         0x67  /* Manual U value */
#define OV7670_REG_MANV         0x68  /* Manual V value */
#define OV7670_REG_GFIX         0x69  /* Fix gain control */
#define OV7670_REG_GGAIN        0x6A  /* G channel AWB gain */
#define OV7670_REG_DBLV         0x6B  /* PLL control / regulator */
#define OV7670_REG_AWBCTR3      0x6C
#define OV7670_REG_AWBCTR2      0x6D
#define OV7670_REG_AWBCTR1      0x6E
#define OV7670_REG_AWBCTR0      0x6F
#define OV7670_REG_SCALING_XSC  0x70
#define OV7670_REG_SCALING_YSC  0x71
#define OV7670_REG_SCALING_DCWCTR 0x72
#define OV7670_REG_SCALING_PCLK_DIV 0x73
#define OV7670_REG_REG74        0x74
#define OV7670_REG_REG75        0x75
#define OV7670_REG_REG76        0x76
#define OV7670_REG_REG77        0x77
#define OV7670_REG_SLOP         0x7A  /* Gamma curve highest segment slope */
#define OV7670_REG_GAM_BASE     0x7B  /* Gamma curve base (0x7B..0x7E = GAM1..GAM4) */
#define OV7670_REG_GAM1         0x7B
#define OV7670_REG_GAM2         0x7C
#define OV7670_REG_GAM3         0x7D
#define OV7670_REG_GAM4         0x7E
#define OV7670_REG_GAM5         0x7F
#define OV7670_REG_GAM6         0x80
#define OV7670_REG_GAM7         0x81
#define OV7670_REG_GAM8         0x82
#define OV7670_REG_GAM9         0x83
#define OV7670_REG_GAM10        0x84
#define OV7670_REG_GAM11        0x85
#define OV7670_REG_GAM12        0x86
#define OV7670_REG_GAM13        0x87
#define OV7670_REG_GAM14        0x88
#define OV7670_REG_GAM15        0x89
#define OV7670_REG_RGB444       0x8C  /* RGB 444 control */
#define OV7670_REG_DM_LNL       0x92  /* Dummy line low 8 bits */
#define OV7670_REG_DM_LNH       0x93  /* Dummy line high 8 bits */
#define OV7670_REG_LCC6         0x94
#define OV7670_REG_LCC7         0x95
#define OV7670_REG_BD50ST       0x9D  /* 50Hz banding filter */
#define OV7670_REG_BD60ST       0x9E  /* 60Hz banding filter */
#define OV7670_REG_HAECC1       0x9F
#define OV7670_REG_HAECC2       0xA0
#define OV7670_REG_SCALING_PCLK_DELAY 0xA2
#define OV7670_REG_NT_CTRL      0xA4
#define OV7670_REG_BD50MAX      0xA5  /* 50Hz banding step limit */
#define OV7670_REG_HAECC3       0xA6
#define OV7670_REG_HAECC4       0xA7
#define OV7670_REG_HAECC5       0xA8
#define OV7670_REG_HAECC6       0xA9
#define OV7670_REG_HAECC7       0xAA  /* AEC algorithm control */
#define OV7670_REG_BD60MAX      0xAB  /* 60Hz banding step limit */
#define OV7670_REG_STR_OPT      0xAC
#define OV7670_REG_STR_R        0xAD  /* R gain for LED output frame */
#define OV7670_REG_STR_G        0xAE
#define OV7670_REG_STR_B        0xAF
#define OV7670_REG_ABLC1        0xB1
#define OV7670_REG_THL_ST       0xB3  /* ABLC target */
#define OV7670_REG_SATCTR       0xC9  /* Saturation control */
#define OV7670_REG_COM_LAST     0xFF  /* Sentinel – end of register table */

/* ─── COM7 bits ──────────────────────────────────────────── */
#define OV7670_COM7_RESET       BIT(7) /* SCCB register reset */
#define OV7670_COM7_FMT_QVGA    BIT(4) /* QVGA (320×240) */
#define OV7670_COM7_FMT_CIF     BIT(5) /* CIF (352×288) */
#define OV7670_COM7_FMT_VGA     0x00   /* VGA (640×480) */
#define OV7670_COM7_RGB         BIT(2) /* Output format: RGB */
#define OV7670_COM7_YUV         0x00   /* Output format: YUV */
#define OV7670_COM7_BAYER       BIT(0) /* Raw Bayer output */
#define OV7670_COM7_PBAYER      (BIT(0)|BIT(2))

/* ─── COM3 bits ──────────────────────────────────────────── */
#define OV7670_COM3_SWAP        BIT(6) /* Output data MSB/LSB swap */
#define OV7670_COM3_SCALEEN     BIT(3) /* Scale enable */
#define OV7670_COM3_DCWEN       BIT(2) /* DCW enable */

/* ─── COM8 bits ──────────────────────────────────────────── */
#define OV7670_COM8_FASTAEC     BIT(7)
#define OV7670_COM8_AECSTEP     BIT(6)
#define OV7670_COM8_BANDING     BIT(5)
#define OV7670_COM8_AGC         BIT(2) /* AGC enable */
#define OV7670_COM8_AWB         BIT(1) /* AWB enable */
#define OV7670_COM8_AEC         BIT(0) /* AEC enable */

/* ─── COM10 bits ─────────────────────────────────────────── */
#define OV7670_COM10_VSYNC_NEG  BIT(1) /* VSYNC negative polarity */
#define OV7670_COM10_HREF_REV   BIT(3) /* HREF reverse */
#define OV7670_COM10_PCLK_FREE  BIT(5) /* PCLK free-running */

/* ─── COM15 bits ─────────────────────────────────────────── */
#define OV7670_COM15_R00FF      BIT(7) /* Output range: [00] to [FF] */
#define OV7670_COM15_RGB565     BIT(4) /* RGB565 output */
#define OV7670_COM15_RGB555     BIT(5) /* RGB555 output */

/* ─── MVFP bits ──────────────────────────────────────────── */
#define OV7670_MVFP_MIRROR      BIT(5) /* Mirror image */
#define OV7670_MVFP_FLIP        BIT(4) /* Vertical flip */

/* ─── TSLB bits ──────────────────────────────────────────── */
#define OV7670_TSLB_YLAST       BIT(2) /* UYVY vs YUYV byte order */

/* ─── Chip ID ────────────────────────────────────────────── */
#define OV7670_PID_MAGIC        0x76
#define OV7670_VER_MAGIC        0x73

#endif /* OV7670_REGS_H */
```
